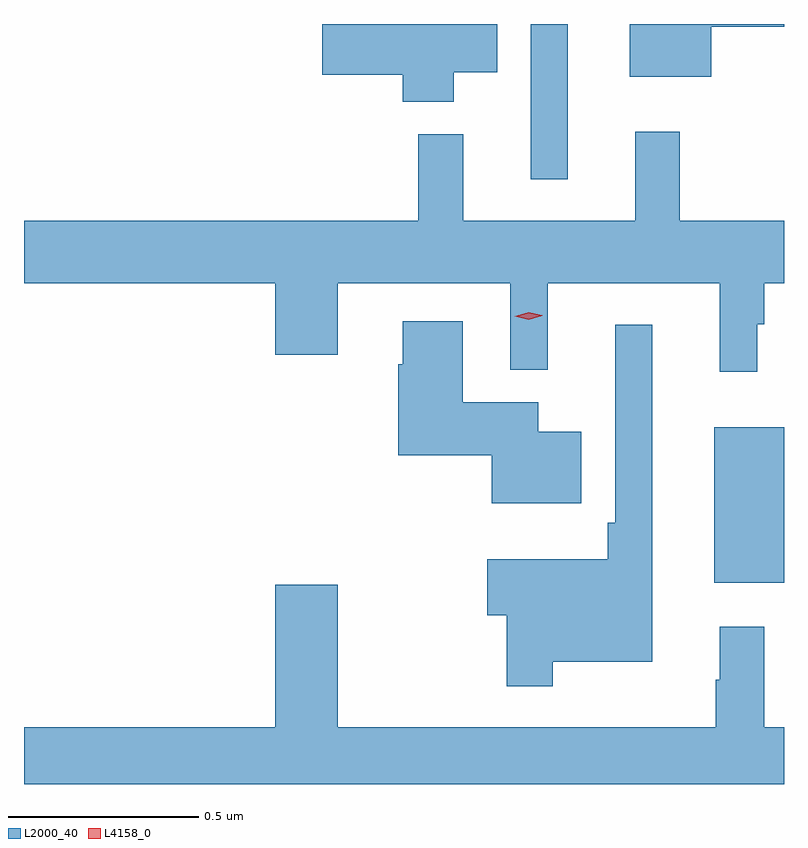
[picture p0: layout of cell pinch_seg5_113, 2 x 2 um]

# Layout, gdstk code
import gdstk
lib = gdstk.Library(unit=1e-6, precision=1e-09)
def R(c, l, rs):  # rectangles x0, y0, x1, y1
    for r in rs: c.add(gdstk.rectangle(r[:2], r[2:], *l))
def P(c, l, *ps):  # polygons
    for p in ps: c.add(gdstk.Polygon(p, *l))
L2000_40 = (2000, 40)
L4158_0 = (4158, 0)

pinch_seg5_113 = lib.new_cell('pinch_seg5_113')
R(pinch_seg5_113, L2000_40, [(1029.299,879.947,1029.483,880.357), (1028.817,881.01,1028.914,881.418)])
P(pinch_seg5_113, L2000_40, [(1029.292,881.411),(1029.483,881.411),(1029.483,881.418),(1029.077,881.418),(1029.077,881.279),(1029.292,881.279)],
  [(1028.614,881.291),(1028.728,881.291),(1028.728,881.418),(1028.268,881.418),(1028.268,881.284),(1028.48,881.284),(1028.48,881.213),(1028.614,881.213)],
  [(1028.639,881.128),(1028.521,881.128),(1028.521,880.9),(1027.483,880.9),(1027.483,880.736),(1028.144,880.736),(1028.144,880.548),(1028.308,880.548),(1028.308,880.736),(1028.763,880.736),(1028.763,880.508),(1028.861,880.508),(1028.861,880.736),(1029.314,880.736),(1029.314,880.503),(1029.413,880.503),(1029.413,880.628),(1029.431,880.628),(1029.431,880.736),(1029.483,880.736),(1029.483,880.9),(1029.209,880.9),(1029.209,881.134),(1029.092,881.134),(1029.092,880.9),(1028.639,880.9)],
  [(1028.95,880.345),(1028.836,880.345),(1028.836,880.423),(1028.638,880.423),(1028.638,880.636),(1028.48,880.636),(1028.48,880.523),(1028.468,880.523),(1028.468,880.283),(1028.714,880.283),(1028.714,880.157),(1028.95,880.157)],
  [(1028.875,879.74),(1029.136,879.74),(1029.136,880.627),(1029.039,880.627),(1029.039,880.105),(1029.019,880.105),(1029.019,880.009),(1028.702,880.009),(1028.702,879.862),(1028.754,879.862),(1028.754,879.675),(1028.875,879.675)],
  [(1029.483,879.568),(1029.431,879.568),(1029.431,879.832),(1029.314,879.832),(1029.314,879.692),(1029.303,879.692),(1029.303,879.568),(1028.308,879.568),(1028.308,879.943),(1028.144,879.943),(1028.144,879.568),(1027.483,879.568),(1027.483,879.418),(1029.483,879.418)])
P(pinch_seg5_113, L4158_0, [(1028.811,880.64),(1028.775,880.649),(1028.775,880.649),(1028.775,880.649),(1028.811,880.66),(1028.847,880.651),(1028.847,880.65),(1028.847,880.65)])

lib.write_gds('pinch_seg5_113.gds')
